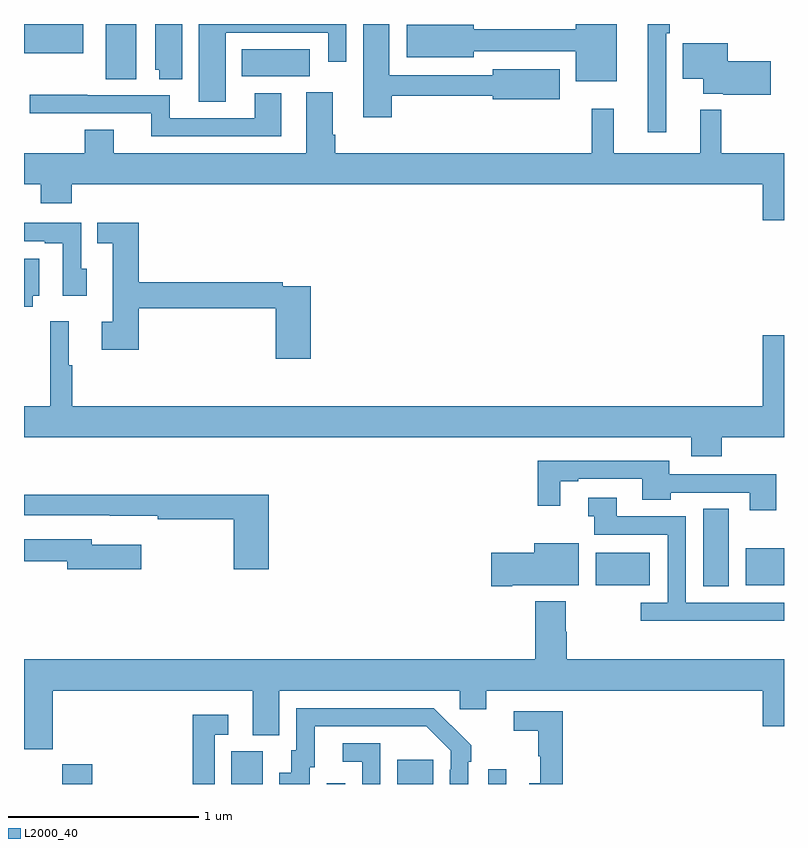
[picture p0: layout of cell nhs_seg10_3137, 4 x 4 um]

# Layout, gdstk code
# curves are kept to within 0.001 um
import gdstk
lib = gdstk.Library(unit=1e-6, precision=1e-09)
def R(c, l, rs):  # rectangles x0, y0, x1, y1
    for r in rs: c.add(gdstk.rectangle(r[:2], r[2:], *l))
def P(c, l, *ps):  # polygons
    for p in ps: c.add(gdstk.Polygon(p, *l))
L2000_40 = (2000, 40)

nhs_seg10_3137 = lib.new_cell('nhs_seg10_3137')
R(nhs_seg10_3137, L2000_40, [(281.2,1290.5,281.36,1290.604), (282.092,1290.5,282.256,1290.672), (282.594,1290.5,282.69,1290.505), (282.965,1290.5,283.153,1290.628), (283.443,1290.5,283.539,1290.577), (284.576,1291.54,284.71,1291.949), (284.009,1291.547,284.293,1291.717), (284.798,1291.547,285,1291.741), (281.429,1294.21,281.59,1294.5), (282.146,1294.226,282.505,1294.366), (281,1294.346,281.311,1294.5)])
P(nhs_seg10_3137, L2000_40, [(282.061,1294.454),(282.6,1294.454),(282.6,1294.302),(282.696,1294.302),(282.696,1294.5),(281.921,1294.5),(281.921,1294.09),(282.061,1294.09)],
  [(284.379,1294.451),(284.399,1294.451),(284.399,1294.5),(284.282,1294.5),(284.282,1293.93),(284.379,1293.93)],
  [(281.833,1294.5),(281.69,1294.5),(281.69,1294.26),(281.711,1294.26),(281.711,1294.21),(281.833,1294.21)],
  [(282.935,1294.122),(283.466,1294.122),(283.466,1294.103),(283.819,1294.103),(283.819,1294.261),(283.466,1294.261),(283.466,1294.23),(282.922,1294.23),(282.922,1294.5),(282.785,1294.5),(282.785,1294.008),(282.935,1294.008)],
  [(284.119,1294.5),(283.904,1294.5),(283.904,1294.472),(283.366,1294.472),(283.366,1294.496),(283.014,1294.496),(283.014,1294.325),(283.366,1294.325),(283.366,1294.356),(283.904,1294.356),(283.904,1294.199),(284.119,1294.199)],
  [(284.929,1294.304),(284.704,1294.304),(284.704,1294.399),(284.468,1294.399),(284.468,1294.211),(284.576,1294.211),(284.576,1294.133),(284.68,1294.133),(284.68,1294.128),(284.929,1294.128)],
  [(284.888,1293.468),(285,1293.468),(285,1293.82),(284.67,1293.82),(284.67,1294.048),(284.558,1294.048),(284.558,1293.82),(284.105,1293.82),(284.105,1294.054),(283.987,1294.054),(283.987,1293.82),(282.638,1293.82),(282.638,1293.916),(282.625,1293.916),(282.625,1294.141),(282.485,1294.141),(282.485,1293.82),(281.473,1293.82),(281.473,1293.944),(281.321,1293.944),(281.321,1293.82),(281,1293.82),(281,1293.656),(281.087,1293.656),(281.087,1293.557),(281.252,1293.557),(281.252,1293.656),(284.888,1293.656)],
  [(282.355,1294.135),(282.215,1294.135),(282.215,1294.005),(281.767,1294.005),(281.767,1294.125),(281.333,1294.125),(281.333,1294.128),(281.031,1294.128),(281.031,1294.029),(281.669,1294.029),(281.669,1293.909),(282.355,1293.909)],
  [(281.329,1293.213),(281.301,1293.213),(281.301,1293.453),(281.003,1293.453),(281.003,1293.455),(281,1293.455),(281,1293.357),(281.108,1293.357),(281.108,1293.345),(281.205,1293.345),(281.205,1293.069),(281.329,1293.069)],
  [(282.509,1293.12),(282.362,1293.12),(282.362,1293.14),(281.603,1293.14),(281.603,1293.455),(281.386,1293.455),(281.386,1293.345),(281.468,1293.345),(281.468,1292.934),(281.409,1292.934),(281.409,1292.786),(281.603,1292.786),(281.603,1293.004),(282.326,1293.004),(282.326,1292.739),(282.509,1292.739)],
  [(281.047,1293.071),(281.08,1293.071),(281.08,1293.265),(281,1293.265),(281,1293.011),(281.047,1293.011)],
  [(284.673,1292.324),(285,1292.324),(285,1292.863),(284.888,1292.863),(284.888,1292.488),(281.255,1292.488),(281.255,1292.703),(281.236,1292.703),(281.236,1292.935),(281.138,1292.935),(281.138,1292.488),(281,1292.488),(281,1292.324),(284.513,1292.324),(284.513,1292.225),(284.673,1292.225)],
  [(284.959,1292.13),(284.395,1292.13),(284.395,1292.202),(283.705,1292.202),(283.705,1291.965),(283.822,1291.965),(283.822,1292.094),(283.918,1292.094),(283.918,1292.106),(284.255,1292.106),(284.255,1291.997),(284.403,1291.997),(284.403,1292.034),(284.819,1292.034),(284.819,1291.941),(284.959,1291.941)],
  [(282.287,1292.023),(281,1292.023),(281,1291.914),(281.452,1291.914),(281.452,1291.913),(281.704,1291.913),(281.704,1291.894),(282.104,1291.894),(282.104,1291.629),(282.287,1291.629)],
  [(284.999,1291.359),(285,1291.359),(285,1291.455),(284.484,1291.455),(284.484,1291.908),(284.119,1291.908),(284.119,1292.007),(283.971,1292.007),(283.971,1291.91),(284.002,1291.91),(284.002,1291.812),(284.388,1291.812),(284.388,1291.455),(284.247,1291.455),(284.247,1291.358),(284.999,1291.358)],
  [(281.617,1291.759),(281.356,1291.759),(281.356,1291.788),(281,1291.788),(281,1291.672),(281.228,1291.672),(281.228,1291.63),(281.617,1291.63)],
  [(283.57,1291.547),(283.921,1291.547),(283.921,1291.768),(283.685,1291.768),(283.685,1291.718),(283.458,1291.718),(283.458,1291.54),(283.57,1291.54)],
  [(281.152,1290.992),(282.203,1290.992),(282.203,1290.757),(282.343,1290.757),(282.343,1290.992),(283.293,1290.992),(283.293,1290.894),(283.432,1290.894),(283.432,1290.992),(284.888,1290.992),(284.888,1290.804),(285,1290.804),(285,1291.156),(283.856,1291.156),(283.856,1291.301),(283.851,1291.301),(283.851,1291.462),(283.691,1291.462),(283.691,1291.156),(281,1291.156),(281,1290.683),(281.152,1290.683)],
  [(282.505,1290.588),(282.529,1290.588),(282.529,1290.804),(283.117,1290.804),(283.245,1290.675),(283.245,1290.575),(283.242,1290.575),(283.242,1290.5),(283.338,1290.5),(283.338,1290.617),(283.353,1290.617),(283.353,1290.705),(283.156,1290.9),(282.432,1290.9),(282.432,1290.678),(282.407,1290.678),(282.407,1290.559),(282.344,1290.559),(282.344,1290.5),(282.505,1290.5)],
  [(283.835,1290.882),(283.578,1290.882),(283.578,1290.781),(283.707,1290.781),(283.707,1290.645),(283.718,1290.645),(283.718,1290.505),(283.658,1290.505),(283.658,1290.5),(283.835,1290.5)],
  [(282.003,1290.759),(282.076,1290.759),(282.076,1290.865),(281.887,1290.865),(281.887,1290.5),(282.003,1290.5)],
  [(282.876,1290.714),(282.678,1290.714),(282.678,1290.618),(282.78,1290.618),(282.78,1290.5),(282.876,1290.5)])

lib.write_gds('nhs_seg10_3137.gds')
